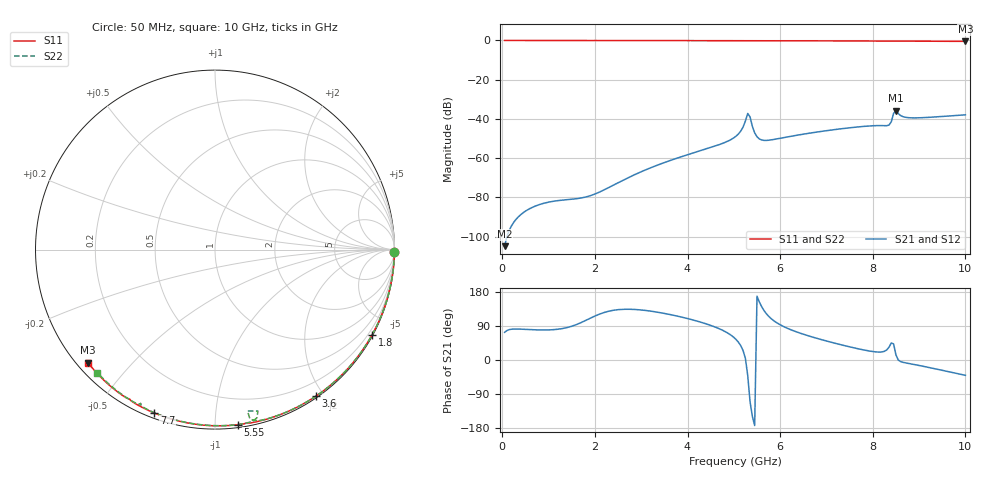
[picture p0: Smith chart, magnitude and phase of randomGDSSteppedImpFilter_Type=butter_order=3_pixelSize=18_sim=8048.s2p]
! freq	dB(S11)	phase(S11)	dB(S12)	phase(S12)
!  dB(S21)	phase(S21)	dB(S22)	phase(S22)
!S-par simulation data
#  GHz  S  DB  R 50
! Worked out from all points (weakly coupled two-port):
!   200 points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, 50 MHz to 10 GHz, reference 50 ohm
!   highest |S21| = -35.77 dB at 8.5 GHz (marker M1); lowest = -104.8 dB at 50 MHz (marker M2)
!   lowest |S11| = -0.5 dB at 10 GHz (marker M3), VSWR 37.05, Z = 1.54 - j19 ohm
!   |S11| at or under -10 dB: nowhere
!   |S22| runs from -0.8 to 0.0 dB; largest |S21 - S12| = 0
!   S11 on the Smith chart (normalised r, x): 50 MHz: open; 1.8 GHz: 0.03, -3.95; 3.6 GHz: 0.02, -1.90; 5.55 GHz: 0.02, -1.14; 7.7 GHz: 0.02, -0.69; 10 GHz: 0.03, -0.38
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0.05  -0.00 -0.8  -104.83 73.1  -104.83 73.1  -0.00 -0.8
1.75  -0.04 -27.6  -80.06 101.4  -80.06 101.4  -0.03 -26.7
1.8  -0.04 -28.4  -79.78 104.3  -79.78 104.3  -0.03 -27.4
3.4  -0.07 -52.5  -63.08 125.1  -63.08 125.1  -0.07 -50.8
3.6  -0.07 -55.4  -61.38 120.5  -61.38 120.5  -0.07 -53.6
4.7  -0.10 -71.1  -52.95 81.7  -52.95 81.7  -0.10 -69.0
5.05  -0.12 -76.0  -48.73 53.9  -48.73 53.9  -0.13 -74.1
5.2  -0.12 -78.1  -44.10 24.9  -44.10 24.9  -0.19 -77.0
5.3  -0.15 -79.5  -37.20 -41.1  -37.20 -41.1  -0.75 -78.6
5.35  -0.15 -80.0  -38.96 -110.0  -38.96 -110.0  -0.62 -75.1
5.45  -0.14 -81.3  -47.08 -172.9  -47.08 -172.9  -0.21 -77.2
5.55  -0.14 -82.7  -50.17 153.2  -50.17 153.2  -0.16 -79.1
5.75  -0.15 -85.4  -50.85 115.6  -50.85 115.6  -0.15 -82.0
6.7  -0.19 -97.8  -47.00 60.5  -47.00 60.5  -0.19 -94.4
7.7  -0.25 -110.4  -44.01 29.2  -44.01 29.2  -0.25 -106.7
8.35  -0.31 -118.5  -43.14 33.6  -43.14 33.6  -0.32 -114.8
8.4  -0.33 -119.2  -41.44 45.0  -41.44 45.0  -0.35 -115.5
8.45  -0.36 -119.7  -37.11 42.4  -37.11 42.4  -0.43 -115.9
8.5  -0.35 -120.1  -35.77 13.5  -35.77 13.5  -0.40 -115.7
8.6  -0.33 -121.3  -38.24 -4.1  -38.24 -4.1  -0.33 -117.1
8.8  -0.34 -123.8  -39.40 -9.7  -39.40 -9.7  -0.34 -119.6
10  -0.47 -138.4  -37.89 -40.4  -37.89 -40.4  -0.46 -133.7
